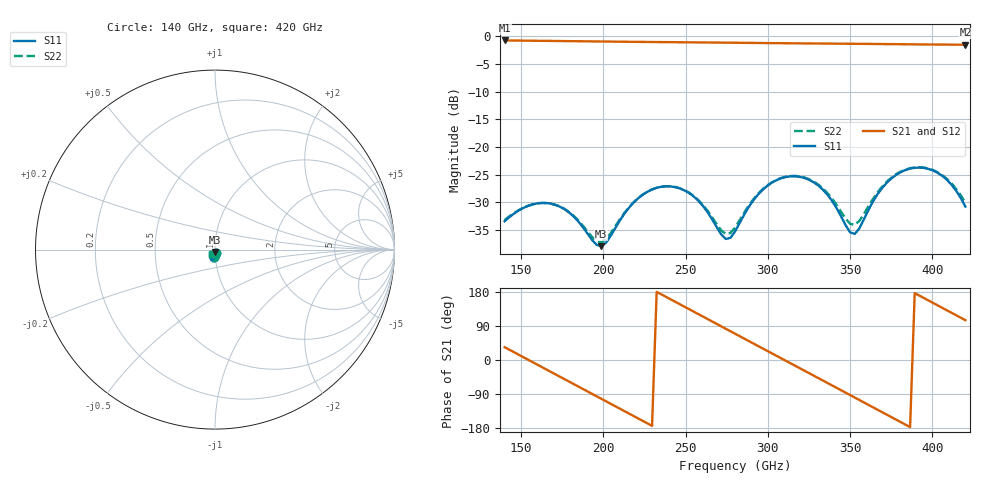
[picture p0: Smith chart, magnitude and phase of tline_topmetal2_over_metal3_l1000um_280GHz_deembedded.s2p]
! Created with skrf 2.2.0 (http://scikit-rf.org).
# GHz S DB R 50.0
! Port[1] = P1
! Port[2] = P2
!freq dBS11 angS11 dBS21 angS21 dBS12 angS12 dBS22 angS22
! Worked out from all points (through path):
!   101 points, 140 GHz to 420 GHz, reference 50 ohm
!   highest |S21| = -0.80 dB at 140 GHz (marker M1); lowest = -1.6 dB at 420 GHz (marker M2)
!   group delay of S21, straight-line fit = 6.44 ps
!   lowest |S11| = -37.9 dB at 198.8 GHz (marker M3), VSWR 1.03, Z = 50 - j1.28 ohm
!   |S11| at or under -10 dB: start of sweep to end of sweep
!   |S22| runs from -37.2 to -23.6 dB; largest |S21 - S12| = 1.5e-12
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140  -33.39 -72.9  -0.80 33.9  -0.80 33.9  -33.16 -76.8
151.2  -31.01 -81.9  -0.83 7.9  -0.83 7.9  -30.97 -84.4
162.4  -30.09 -96.6  -0.86 -18.1  -0.86 -18.1  -30.09 -97.9
176.4  -31.21 -115.1  -0.91 -50.6  -0.91 -50.6  -31.16 -115.1
187.6  -34.46 -120.8  -0.95 -76.5  -0.95 -76.5  -34.20 -119.6
198.8  -37.87 -90.4  -0.98 -102.5  -0.98 -102.5  -37.16 -91.5
218.4  -30.02 -67.1  -1.04 -147.8  -1.04 -147.8  -29.94 -69.1
235.2  -27.17 -91.6  -1.09 173.3  -1.09 173.3  -27.15 -92.1
246.4  -27.46 -109.6  -1.12 147.3  -1.12 147.3  -27.42 -109.2
260.4  -30.58 -126.3  -1.16 114.9  -1.16 114.9  -30.40 -124.5
274.4  -36.58 -100.4  -1.19 82.5  -1.19 82.5  -35.67 -99.7
280  -35.24 -73.2  -1.21 69.5  -1.21 69.5  -34.55 -75.8
294  -28.57 -65.6  -1.25 37.0  -1.25 37.0  -28.43 -67.4
305.2  -25.98 -80.8  -1.29 11.1  -1.29 11.1  -25.91 -81.3
316.4  -25.27 -99.1  -1.32 -14.8  -1.32 -14.8  -25.21 -98.6
327.6  -26.32 -116.9  -1.34 -40.7  -1.34 -40.7  -26.19 -115.0
341.6  -30.95 -128.7  -1.37 -73.2  -1.37 -73.2  -30.39 -124.2
352.8  -35.67 -89.4  -1.40 -99.2  -1.40 -99.2  -34.02 -90.9
375.2  -25.63 -69.1  -1.46 -151.1  -1.46 -151.1  -25.48 -72.0
386.4  -23.89 -86.8  -1.49 -177.1  -1.49 -177.1  -23.82 -88.1
397.6  -23.95 -105.6  -1.52 157.0  -1.52 157.0  -23.87 -105.6
420  -30.75 -126.3  -1.56 105.1  -1.56 105.1  -30.03 -121.6
